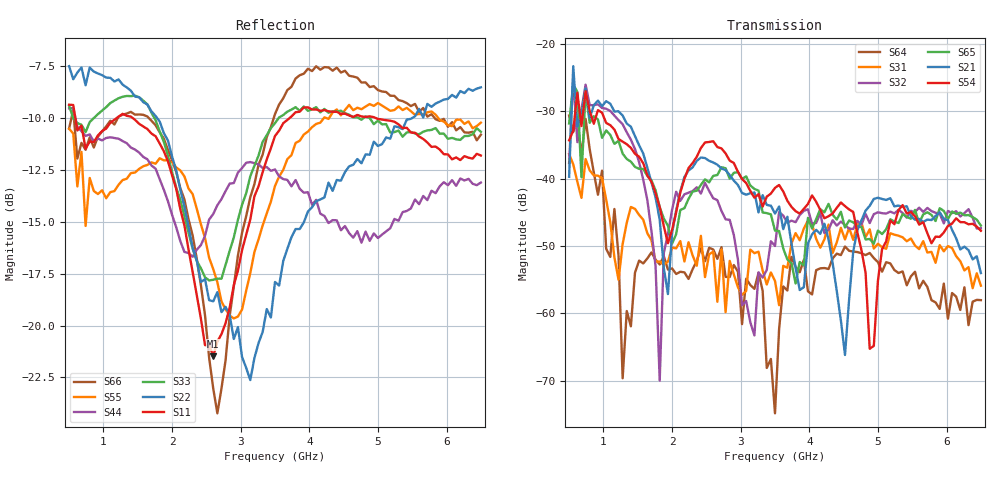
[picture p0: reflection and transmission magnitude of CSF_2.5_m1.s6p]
!Keysight Technologies,M9804A,MY58100912,A.14.10.03
!Date: Thursday, April 27, 2023 10:28:33
!Correction: S11(C  6-Port  )
!S12(C  6-Port  )
!S13(C  6-Port  )
!S14(C  6-Port  )
!S15(C  6-Port  )
!S16(C  6-Port  )
!S21(C  6-Port  )
!S22(C  6-Port  )
!S23(C  6-Port  )
!S24(C  6-Port  )
!S25(C  6-Port  )
!S26(C  6-Port  )
!S31(C  6-Port  )
!S32(C  6-Port  )
!S33(C  6-Port  )
!S34(C  6-Port  )
!S35(C  6-Port  )
!S36(C  6-Port  )
!S41(C  6-Port  )
!S42(C  6-Port  )
!S43(C  6-Port  )
!S44(C  6-Port  )
!S45(C  6-Port  )
!S46(C  6-Port  )
!S51(C  6-Port  )
!S52(C  6-Port  )
!S53(C  6-Port  )
!S54(C  6-Port  )
!S55(C  6-Port  )
!S56(C  6-Port  )
!S61(C  6-Port  )
!S62(C  6-Port  )
!S63(C  6-Port  )
!S64(C  6-Port  )
!S65(C  6-Port  )
!S66(C  6-Port  )
!S6P File: Measurement: :
# Hz S  RI  R 50
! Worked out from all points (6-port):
!   101 points, 500 MHz to 6.5 GHz, reference 50 ohm
!   strongest paths, dB at 500 MHz, 2 GHz, 3.5 GHz, 5 GHz, 6.5 GHz:
!     S54: -34.3, -47.6, -41.4, -55.1, -47.7
!     S21: -39.7, -48.1, -45.2, -42.8, -54.0
!     S65: -31.8, -49.7, -47.7, -47.7, -47.0
!     S32: -37.7, -44.6, -50.0, -45.0, -47.4
!     S31: -36.3, -50.2, -55.2, -49.7, -55.9
!     S64: -30.6, -53.3, -74.8, -52.4, -58.0
!   lowest |S11| = -21.5 dB at 2.6 GHz (marker M1), VSWR 1.18, Z = 42.5 + j2.17 ohm
!   |S11| at or under -10 dB: 590.9 MHz to 1.191 GHz (600 MHz wide, 67.3 % of centre); 1.428 GHz to 3.711 GHz (2.282 GHz wide, 88.8 % of centre); 4.973 GHz to end of sweep
